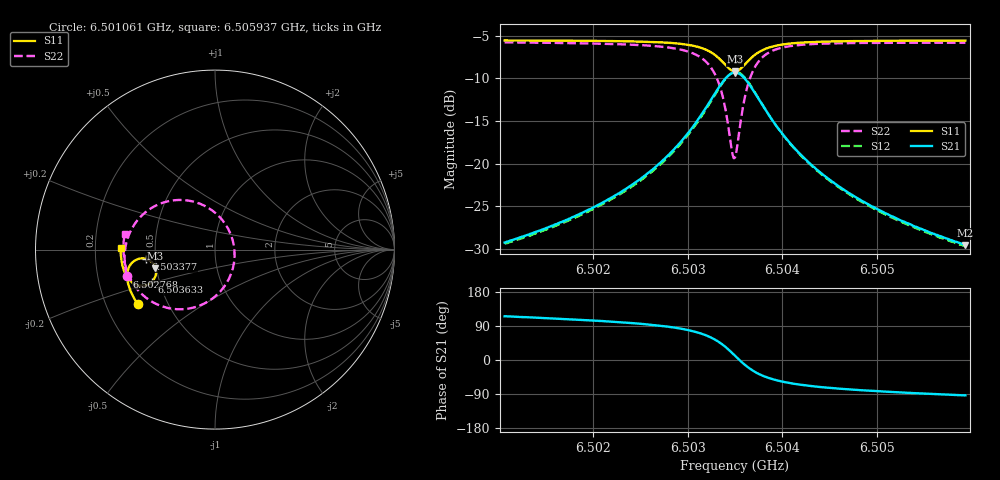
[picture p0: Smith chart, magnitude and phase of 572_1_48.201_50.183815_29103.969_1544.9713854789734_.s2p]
#  HZ  S  RI  R  50.00
! Rohde & Schwarz Vector Network Analyzer
! Rohde-Schwarz,ZNB20-2Port,1311601062101988,3.16
! Created: UTC 3/20/2024, 12:01:43 PM
! freq[Hz]  re:S11  im:S11  re:S21  im:S21  re:S12  im:S12  re:S22  im:S22
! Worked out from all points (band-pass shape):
!   401 points, 6.501061 GHz to 6.505937 GHz, reference 50 ohm
!   highest |S21| = -9.33 dB at 6.503499 GHz (marker M1); lowest = -29.5 dB at 6.505937 GHz (marker M2)
!   |S21| within 3 dB of the highest: 6.503255 GHz to 6.503743 GHz (487.7 kHz wide, 0.0075 % of centre)
!   lowest |S11| = -9.2 dB at 6.503499 GHz (marker M3), VSWR 2.06, Z = 24.6 - j5.76 ohm
!   |S11| at or under -10 dB: nowhere
!   |S22| runs from -19.4 to -5.8 dB; largest |S21 - S12| = 0.012
!   S11 on the Smith chart (normalised r, x): 6.501061 GHz: 0.34, -0.28; 6.502768 GHz: 0.33, -0.13; 6.503377 GHz: 0.44, -0.05; 6.503633 GHz: 0.45, -0.19; 6.505937 GHz: 0.31, +0.01
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6.5010614e9  -0.4311 -0.3032  -0.0148 0.0312  -0.0131 0.0313  -0.4923 -0.1457
6.501878e9  -0.4656 -0.2418  -0.0141 0.0495  -0.0115 0.049  -0.5038 -0.0572
6.5022924e9  -0.4798 -0.2046  -0.0113 0.0672  -0.00836 0.0663  -0.5007 0.00253
6.5026946e9  -0.4892 -0.1595  -0.00144 0.0998  0.00216 0.0974  -0.4788 0.0844
6.5027678e9  -0.4898 -0.1495  0.00267 0.1085  0.00623 0.1059  -0.4702 0.1039
6.502975e9  -0.4861 -0.116  0.0242 0.1426  0.0277 0.1384  -0.4252 0.1713
6.5031334e9  -0.4712 -0.0839  0.0637 0.1788  0.0665 0.1732  -0.3483 0.2352
6.5032797e9  -0.4331 -0.054  0.146 0.2077  0.1465 0.2018  -0.1986 0.2766
6.5033284e9  -0.4116 -0.0491  0.1891 0.2063  0.1888 0.2011  -0.1234 0.2681
6.5033772e9  -0.3861 -0.0512  0.2383 0.1911  0.2383 0.187  -0.0391 0.2335
6.5034625e9  -0.3428 -0.0806  0.3172 0.1161  0.3197 0.1125  0.0872 0.0858
6.5034991e9  -0.3317 -0.1028  0.3351 0.067  0.3388 0.0621  0.1084 -0.00644
6.5035234e9  -0.3287 -0.1194  0.3386 0.032  0.3429 0.0257  0.1063 -0.0704
6.50356e9  -0.3307 -0.1436  0.3314 -0.0186  0.3353 -0.0271  0.0789 -0.1603
6.5036331e9  -0.3531 -0.1813  0.2843 -0.0958  0.2846 -0.1072  -0.0319 -0.2849
6.5037428e9  -0.3992 -0.2017  0.1963 -0.1416  0.1915 -0.1515  -0.21 -0.3322
6.5039013e9  -0.4469 -0.1924  0.1118 -0.1378  0.1048 -0.143  -0.3624 -0.2834
6.5040719e9  -0.475 -0.171  0.0658 -0.1166  0.0595 -0.1188  -0.4369 -0.2163
6.5043157e9  -0.4961 -0.1411  0.0348 -0.0911  0.0301 -0.0918  -0.4811 -0.1424
6.5046813e9  -0.5119 -0.1022  0.0153 -0.0669  0.012 -0.0666  -0.5041 -0.0667
6.5051323e9  -0.5212 -0.0599  0.0053 -0.0497  0.00296 -0.0491  -0.5106 -0.000933
6.5059367e9  -0.5264 0.00892  -0.00185 -0.0333  -0.00333 -0.0327  -0.5035 0.086
